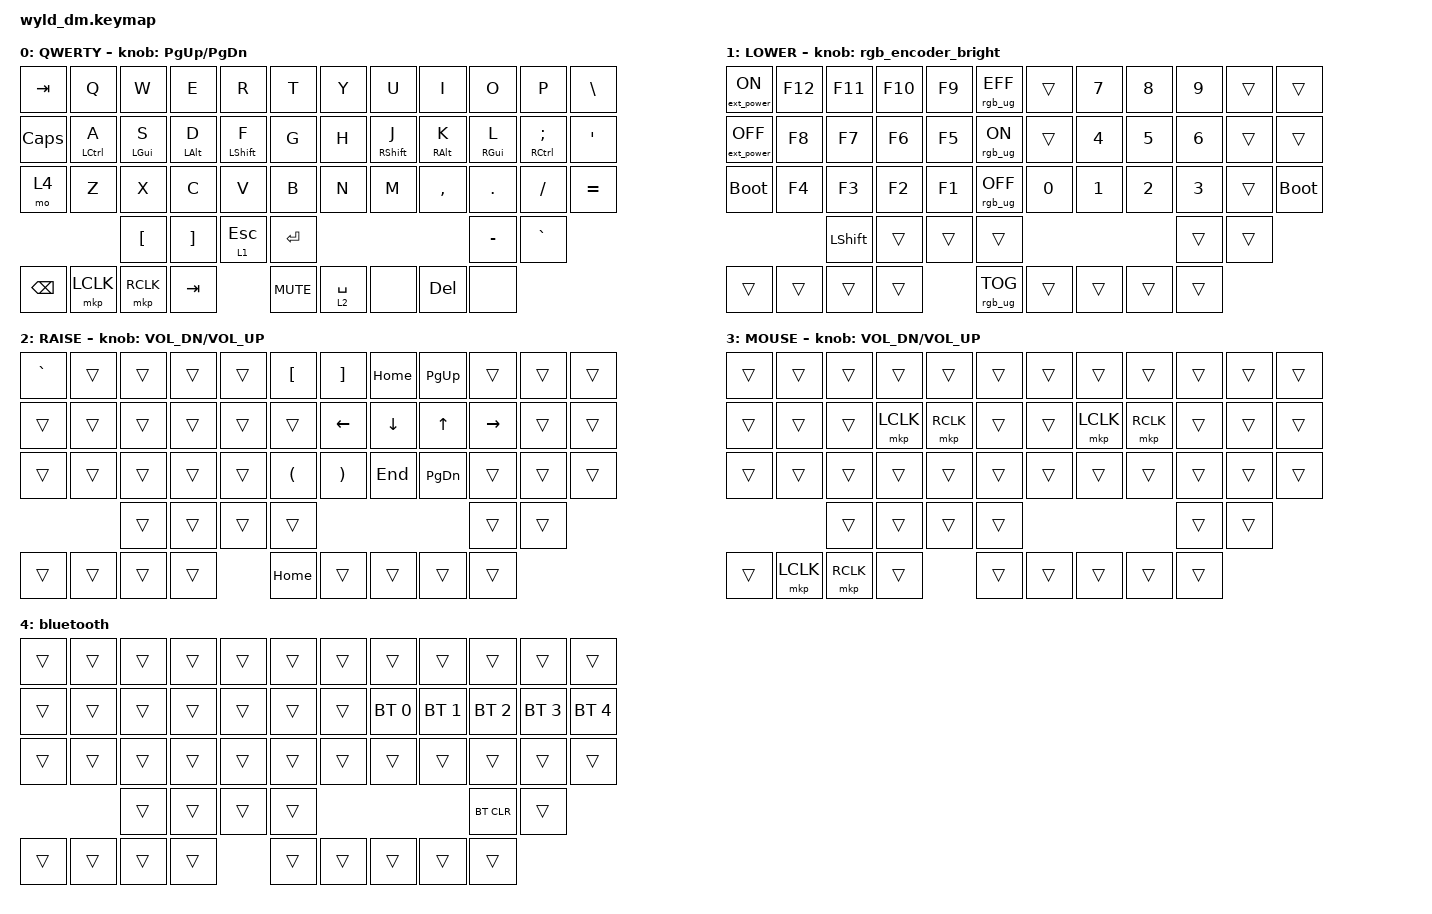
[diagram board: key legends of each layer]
/*
 * Copyright (c) 2020 The ZMK Contributors
 *
 * SPDX-License-Identifier: MIT
 */

#include <dt-bindings/led/led.h>
#include <behaviors/mouse_keys.dtsi>
#include <behaviors.dtsi>
#include <dt-bindings/zmk/bt.h>
#include <dt-bindings/zmk/ext_power.h>
#include <dt-bindings/zmk/keys.h>
#include <dt-bindings/zmk/mouse.h>
#include <dt-bindings/zmk/rgb.h>

// triggering build

#define QWERTY 0
#define LOWER 1
#define RAISE 2

//# 4x6 with encoders

/ {
    behaviors {
        rgb_encoder_bright: rgb_encoder_bright {
            compatible = "zmk,behavior-sensor-rotate";
            #sensor-binding-cells = <0>;
            bindings = <&rgb_ug RGB_BRI>, <&rgb_ug RGB_BRD>;
        };

        hm_left: hm_left {
            compatible = "zmk,behavior-hold-tap";
            label = "HM_LEFT";
            bindings = <&kp>, <&kp>;

            #binding-cells = <2>;
            tapping-term-ms = <200>;
            flavor = "tap-preferred";
            hold-trigger-key-positions = <6 7 8 9 10 11 18 19 20 21 22 23 30 31 32 33 34 35 40 41>;
            hold-trigger-on-release;
        };

        hm_right: hm_right {
            compatible = "zmk,behavior-hold-tap";
            label = "HM_RIGHT";
            bindings = <&kp>, <&kp>;

            #binding-cells = <2>;
            tapping-term-ms = <200>;
            flavor = "tap-preferred";
            hold-trigger-key-positions = <0 1 2 3 4 5 12 13 14 15 16 17 24 25 26 27 28 29 36 37>;
            hold-trigger-on-release;
        };

        //        rgb_encoder_hue: rgb_encoder_hue {
        //            compatible = "zmk,behavior-sensor-rotate";
        //            #sensor-binding-cells = <0>;
        //            bindings = <&rgb_ug RGB_HUI>, <&rgb_ug RGB_HUD>;
        //        };
    };

    keymap {
        compatible = "zmk,keymap";

        default_layer {
            display-name = "QWERTY";
            bindings = <
&kp TAB        &kp Q             &kp W                &kp E                &kp R                  &kp T                    &kp Y  &kp U                    &kp I                  &kp O                  &kp P                      &kp BACKSLASH
&kp CAPS       &hm_left LCTRL A  &hm_left LEFT_GUI S  &hm_left LEFT_ALT D  &hm_left LEFT_SHIFT F  &kp G                    &kp H  &hm_right RIGHT_SHIFT J  &hm_right RIGHT_ALT K  &hm_right RIGHT_GUI L  &hm_right RCTRL SEMICOLON  &kp SQT
&mo 4          &kp Z             &kp X                &kp C                &kp V                  &kp B                    &kp N  &kp M                    &kp COMMA              &kp DOT                &kp FSLH                   &kp EQUAL
                                 &kp LEFT_BRACKET     &kp RIGHT_BRACKET    &lt 1 ESCAPE           &kp ENTER                                                                       &kp MINUS              &kp GRAVE
&kp BACKSPACE  &mkp LCLK         &mkp RCLK            &kp TAB                                     &kp K_MUTE  &lt 2 SPACE  &none  &kp DELETE               &none
            >;

            sensor-bindings = <&inc_dec_kp PG_UP PG_DN>;
        };

        lower_layer {
            display-name = "LOWER";
            bindings = <
&ext_power EP_ON   &kp F12  &kp F11         &kp F10  &kp F9  &rgb_ug RGB_EFF          &trans        &kp N7        &kp N8        &kp N9        &trans  &trans
&ext_power EP_OFF  &kp F8   &kp F7          &kp F6   &kp F5  &rgb_ug RGB_ON           &trans        &kp NUMBER_4  &kp NUMBER_5  &kp NUMBER_6  &trans  &trans
&bootloader        &kp F4   &kp F3          &kp F2   &kp F1  &rgb_ug RGB_OFF          &kp NUMBER_0  &kp NUMBER_1  &kp NUMBER_2  &kp NUMBER_3  &trans  &bootloader
                            &kp LEFT_SHIFT  &trans   &trans  &trans                                                             &trans        &trans
&trans             &trans   &trans          &trans           &rgb_ug RGB_TOG  &trans  &trans        &trans        &trans
            >;

            sensor-bindings = <&rgb_encoder_bright>;
        };

        raise_layer {
            display-name = "RAISE";
            bindings = <
&kp GRAVE  &trans  &trans  &trans  &trans  &kp LBKT                      &kp RBKT               &kp HOME  &kp PAGE_UP    &trans     &trans  &trans
&trans     &trans  &trans  &trans  &trans  &trans                        &kp LEFT               &kp DOWN  &kp UP         &kp RIGHT  &trans  &trans
&trans     &trans  &trans  &trans  &trans  &kp LEFT_PARENTHESIS          &kp RIGHT_PARENTHESIS  &kp END   &kp PAGE_DOWN  &trans     &trans  &trans
                   &trans  &trans  &trans  &trans                                                                        &trans     &trans
&trans     &trans  &trans  &trans          &kp HOME              &trans  &trans                 &trans    &trans
            >;

            sensor-bindings = <&inc_dec_kp C_VOL_DN C_VOL_UP>;
        };

        mouse_layer {
            display-name = "MOUSE";
            bindings = <
&trans  &trans     &trans     &trans     &trans     &trans          &trans  &trans     &trans     &trans  &trans  &trans
&trans  &trans     &trans     &mkp LCLK  &mkp RCLK  &trans          &trans  &mkp LCLK  &mkp RCLK  &trans  &trans  &trans
&trans  &trans     &trans     &trans     &trans     &trans          &trans  &trans     &trans     &trans  &trans  &trans
                   &trans     &trans     &trans     &trans                                        &trans  &trans
&trans  &mkp LCLK  &mkp RCLK  &trans                &trans  &trans  &trans  &trans     &trans
            >;

            sensor-bindings = <&inc_dec_kp C_VOL_DN C_VOL_UP>;
        };

        bluetooth {
            bindings = <
&trans  &trans  &trans  &trans  &trans  &trans          &trans  &trans        &trans        &trans        &trans        &trans
&trans  &trans  &trans  &trans  &trans  &trans          &trans  &bt BT_SEL 0  &bt BT_SEL 1  &bt BT_SEL 2  &bt BT_SEL 3  &bt BT_SEL 4
&trans  &trans  &trans  &trans  &trans  &trans          &trans  &trans        &trans        &trans        &trans        &trans
                &trans  &trans  &trans  &trans                                              &bt BT_CLR    &trans
&trans  &trans  &trans  &trans          &trans  &trans  &trans  &trans        &trans
            >;
        };
    };
};

&led_strip { chain-length = <62>; };
